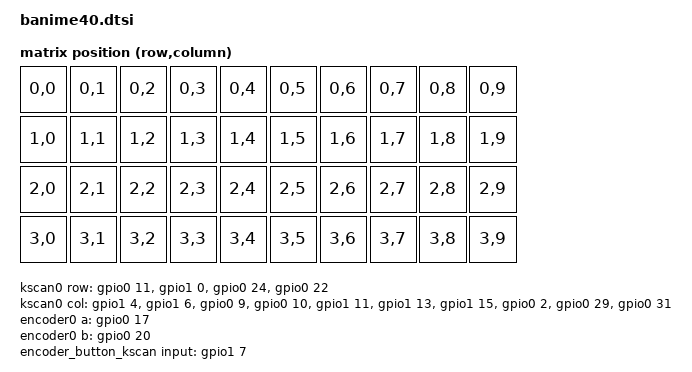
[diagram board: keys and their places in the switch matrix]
/*
 * Copyright (c) 2024 The ZMK Contributors
 *
 * SPDX-License-Identifier: MIT
 */

#include <dt-bindings/zmk/matrix_transform.h>
#include <dt-bindings/gpio/gpio.h>
#include <dt-bindings/pinctrl/nrf-pinctrl.h>

/ {
    chosen {
        zmk,kscan = &kscan_composite;
        zmk,matrix_transform = &default_transform;
        zephyr,display = &oled;  // Khai báo OLED làm display mặc định
        //zmk,encoder = &encoder;
    };

    default_transform: keymap_transform_0 {
        compatible = "zmk,matrix-transform";
        columns = <10>;
        rows = <4>;
        
        map = <
            RC(0,0) RC(0,1) RC(0,2) RC(0,3) RC(0,4) RC(0,5) RC(0,6) RC(0,7) RC(0,8) RC(0,9)
            RC(1,0) RC(1,1) RC(1,2) RC(1,3) RC(1,4) RC(1,5) RC(1,6) RC(1,7) RC(1,8) RC(1,9)
            RC(2,0) RC(2,1) RC(2,2) RC(2,3) RC(2,4) RC(2,5) RC(2,6) RC(2,7) RC(2,8) RC(2,9)
            RC(3,0) RC(3,1) RC(3,2) RC(3,3) RC(3,4) RC(3,5) RC(3,6) RC(3,7) RC(3,8) RC(3,9)
        >;
    };

    kscan0: kscan {
        compatible = "zmk,kscan-gpio-matrix";
        label = "KSCAN";
        diode-direction = "col2row";
    
        // Khai báo theo thứ tự ROW0 → ROW3 (từ thấp đến cao)
        row-gpios
            = <&gpio0 11 (GPIO_ACTIVE_HIGH | GPIO_PULL_DOWN)>   // ROW0 - P0.11
            , <&gpio1 0  (GPIO_ACTIVE_HIGH | GPIO_PULL_DOWN)>   // ROW1 - P1.00  
            , <&gpio0 24 (GPIO_ACTIVE_HIGH | GPIO_PULL_DOWN)>   // ROW2 - P0.24
            , <&gpio0 22 (GPIO_ACTIVE_HIGH | GPIO_PULL_DOWN)>   // ROW3 - P0.22
            ;
        
        // Khai báo theo thứ tự COL0 → COL9 (từ thấp đến cao)
        col-gpios
            = <&gpio1 4 (GPIO_ACTIVE_HIGH | GPIO_PULL_DOWN)>   // COL0 - P0.31
            , <&gpio1 6 (GPIO_ACTIVE_HIGH | GPIO_PULL_DOWN)>   // COL1 - P0.29
            , <&gpio0 9  (GPIO_ACTIVE_HIGH | GPIO_PULL_DOWN)>   // COL2 - P0.02
            , <&gpio0 10 (GPIO_ACTIVE_HIGH | GPIO_PULL_DOWN)>   // COL3 - P1.15
            , <&gpio1 11 (GPIO_ACTIVE_HIGH | GPIO_PULL_DOWN)>   // COL4 - P1.13
            , <&gpio1 13 (GPIO_ACTIVE_HIGH | GPIO_PULL_DOWN)>   // COL5 - P1.11
            , <&gpio1 15 (GPIO_ACTIVE_HIGH | GPIO_PULL_DOWN)>   // COL6 - P0.10
            , <&gpio0 2  (GPIO_ACTIVE_HIGH | GPIO_PULL_DOWN)>   // COL7 - P0.09
            , <&gpio0 29  (GPIO_ACTIVE_HIGH | GPIO_PULL_DOWN)>   // COL8 - P1.06
            , <&gpio0 31  (GPIO_ACTIVE_HIGH | GPIO_PULL_DOWN)>   // COL9 - P1.04
            ;
    };
    // Rotary Encoder configuration    
    encoder0: encoder_0 {
        compatible = "alps,ec11";
        /*label = "ENCODER_0";*/
        a-gpios = <&gpio0 17 (GPIO_ACTIVE_HIGH | GPIO_PULL_UP)>;  // Pin A
        b-gpios = <&gpio0 20 (GPIO_ACTIVE_HIGH | GPIO_PULL_UP)>;  // Pin B
        steps = <4>; // Số xung mỗi bước xoay
        status = "okay";
    };
    
    /*sensors: sensors {
          compatible = "zmk,keymap-sensors";
          sensors = <&encoder0>;
          triggers-per-rotation = <80>;
    };   */ 
    encoder_button_kscan: kscan_direct {
        compatible = "zmk,kscan-gpio-direct";
        label = "ENCODER_BUTTON_KSCAN";
        
        input-gpios = <&gpio1 7 (GPIO_ACTIVE_LOW | GPIO_PULL_UP)>;
        debounce-press-ms = <50>;
        debounce-release-ms = <50>;
        #binding-cells = <1>;
        status = "okay";
    };
    kscan_composite: kscan_composite {
        compatible = "zmk,kscan-composite";
        label = "KSCAN_COMPOSITE";
        status = "okay";        
    
        // Nguồn kscan 1: matrix
        matrix {
            kscan = <&kscan0>;
        };

        // Nguồn kscan 2: encoder button direct GPIO
        direct {
            kscan = <&encoder_button_kscan>;
        //row-offset = <4>;  // shift row để không overlap với matrix 4x10
        };
    };
    sensors {
        compatible = "zmk,keymap-sensors";
        sensors = <&encoder0 &encoder_button_kscan>;
        triggers-per-rotation = <20>; // chỉ áp dụng cho rotary
    };
};

// I2C Configuration for OLED / BƯỚC 1: CHỈ ENABLE I2C - CHƯA ENABLE OLED
&i2c0 {
    status = "okay";
    compatible = "nordic,nrf-twi";
    pinctrl-0 = <&i2c0_default>;
    pinctrl-1 = <&i2c0_sleep>;
    pinctrl-names = "default", "sleep";
    clock-frequency = <I2C_BITRATE_STANDARD>; // 400kHz
    
    // OLED Display    
    oled: ssd1306@3c {
        compatible = "solomon,ssd1306fb";
        reg = <0x3c>;           // I2C address
        label = "DISPLAY";
        width = <128>;          // Screen width
        height = <32>;          // Screen height (32px cho 0.91")
        segment-offset = <0>;
        page-offset = <0>;
        display-offset = <0>;
        multiplex-ratio = <31>; // height - 1
        // segment-remap;
        // com-invdir;
        com-sequential;
        prechargep = <0x22>;
        inversion-on;
    };    
};

// Pinctrl cho I2C - SDA: P1.01, SCL: P1.02
&pinctrl {
    i2c0_default: i2c0_default {
        group1 {
            psels = <NRF_PSEL(TWIM_SDA, 1, 1)>,    // SDA - P1.01
                    <NRF_PSEL(TWIM_SCL, 1, 2)>;     // SCL - P1.02
            bias-pull-up;
        };
    };

    i2c0_sleep: i2c0_sleep {
        group1 {
            psels = <NRF_PSEL(TWIM_SDA, 1, 1)>,
                    <NRF_PSEL(TWIM_SCL, 1, 2)>;
            low-power-enable;
        };
    };        
};
/*&encoder {
    status = "okay";
};*/
